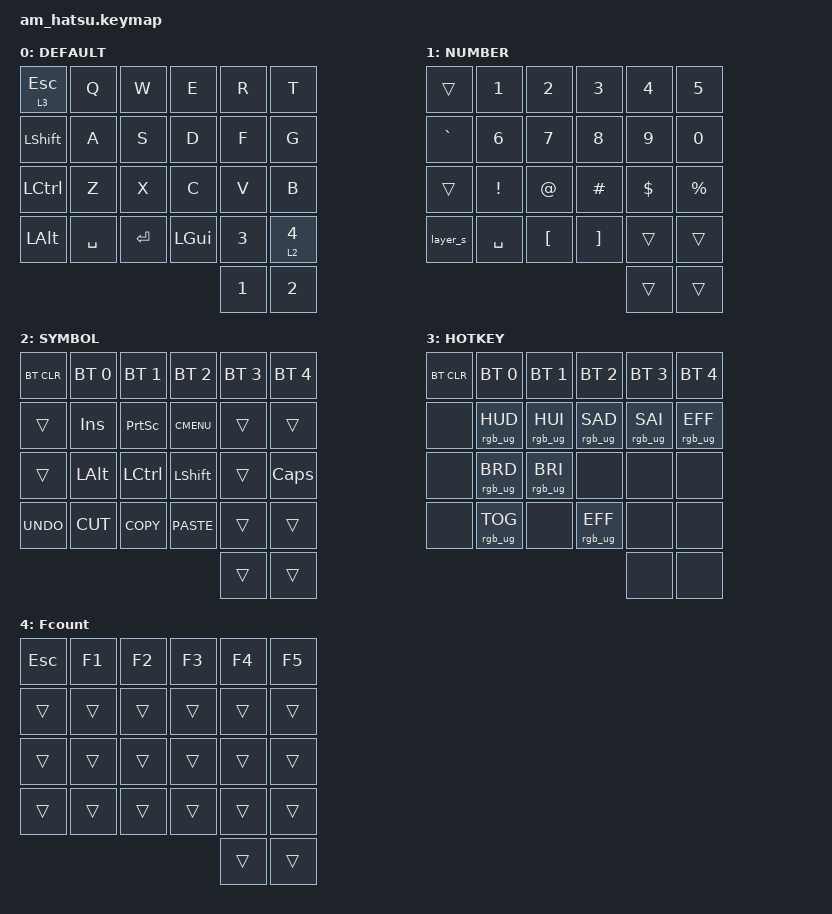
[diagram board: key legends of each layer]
/*
 * Copyright (c) 2020 The ZMK Contributors
 *
 * SPDX-License-Identifier: MIT
 */

#include <behaviors.dtsi>
#include <dt-bindings/zmk/bt.h>
#include <dt-bindings/zmk/keys.h>
#include <dt-bindings/zmk/rgb.h>

/ {
    macros {
        layer_s: layer_s {
            label = "layer shift color";
            compatible = "zmk,behavior-macro";
            #binding-cells = <0>;
            wait-ms = <0>;
            tap-ms = <0>;
            bindings =
                <&macro_press>,
                <&kp LSHFT>,
                <&macro_tap>,
                <&rgb_ug RGB_COLOR_HSB(35,100,50)>,
                <&macro_pause_for_release>,
                <&macro_release>,
                <&kp LSHFT>,
                <&macro_tap>,
                <&rgb_ug RGB_COLOR_HSB(240,50,30)>;
        };

        layer_1: layer_1 {
            label = "layer 1";
            compatible = "zmk,behavior-macro";
            #binding-cells = <0>;
            wait-ms = <0>;
            tap-ms = <0>;
            bindings =
                <&macro_press>,
                <&lt 1 END>,
                <&macro_tap>,
                <&rgb_ug RGB_COLOR_HSB(300,100,50)>,
                <&macro_pause_for_release>,
                <&macro_release>,
                <&lt 1 END>,
                <&macro_tap>,
                <&rgb_ug RGB_COLOR_HSB(240,50,30)>;
        };

        layer_2: layer_2 {
            label = "layer 2";
            compatible = "zmk,behavior-macro";
            #binding-cells = <0>;
            wait-ms = <0>;
            tap-ms = <0>;
            bindings =
                <&macro_press>,
                <&mo 2>,
                <&macro_tap>,
                <&rgb_ug RGB_COLOR_HSB(175,100,50)>,
                <&macro_pause_for_release>,
                <&macro_release>,
                <&mo 2>,
                <&macro_tap>,
                <&rgb_ug RGB_COLOR_HSB(240,50,30)>;
        };

        layer_3: layer_3 {
            label = "layer 3";
            compatible = "zmk,behavior-macro";
            #binding-cells = <0>;
            wait-ms = <0>;
            tap-ms = <0>;
            bindings =
                <&macro_press>,
                <&lt 3 DEL>,
                <&macro_tap>,
                <&rgb_ug RGB_COLOR_HSB(0,100,50)>,
                <&macro_pause_for_release>,
                <&macro_release>,
                <&lt 3 DEL>,
                <&macro_tap>,
                <&rgb_ug RGB_COLOR_HSB(240,50,30)>;
        };
    };

    behaviors {
        hm: homerow_mods {
            compatible = "zmk,behavior-hold-tap";
            label = "HOMEROW_MODS";
            #binding-cells = <2>;
            tapping-term-ms = <150>;
            quick-tap-ms = <0>;
            flavor = "tap-preferred";
            bindings = <&kp>, <&kp>;
        };

        aa: aa {
            compatible = "zmk,behavior-tap-dance";
            label = "select all";
            #binding-cells = <0>;
            tapping-term-ms = <100>;
            bindings = <&kp A>, <&kp LG(A)>;
        };

        cc: cc {
            compatible = "zmk,behavior-tap-dance";
            label = "copy";
            #binding-cells = <0>;
            tapping-term-ms = <100>;
            bindings = <&kp C>, <&kp LG(C)>;
        };

        cv: cv {
            compatible = "zmk,behavior-tap-dance";
            label = "paste";
            #binding-cells = <0>;
            tapping-term-ms = <100>;
            bindings = <&kp V>, <&kp LG(V)>;
        };

        cx: cx {
            compatible = "zmk,behavior-tap-dance";
            label = "cut";
            #binding-cells = <0>;
            tapping-term-ms = <100>;
            bindings = <&kp X>, <&kp LG(X)>;
        };
    };

    #define DEFAULT 0
#define NUMBER  1
#define SYMBOL  2
#define HOTKEY  3

    combos { compatible = "zmk,combos"; };

    keymap {
        compatible = "zmk,keymap";

        default_layer {
            label = "DEFAULT";

            // -----------------------------------------------------------------------------------------------------------------------------------
            // |  ESC  |  Q  |  W  |  E   |  R   |  T   |                                   |  Y   |  U    |  I    |  O   |   P   |   \   |
            // |  TAB  |  A  |  S  |  D   |  F   |  G   |                                   |  H   |  J    |  K    |  L   |   ;   |   '   |
            // | CTRL  |  Z  |  X  |  C   |  V   |  B   |        				|  N   |  M    |  ,    |  .   |   /   | SHIFT |
            // |             | GUI |  ~   |SHIFT | SPACE|                 			| ENTER| BSPC  |   -   |  =   | 
            // |             |            | CTRL |  DEL |            			| HOME |  CTRL | 
            // |             |            |  ALT | LEFT |					|  END |  ALT |

            bindings = <
&lt 3 ESC       &kp Q      &kp W      &kp E         &kp R   &kp T
&kp LEFT_SHIFT  &kp A      &kp S      &kp D         &kp F   &kp G
&kp LCTRL       &kp Z      &kp X      &kp C         &kp V   &kp B
&kp LEFT_ALT    &kp SPACE  &kp ENTER  &kp LEFT_GUI  &kp N3  &lt 2 N4
                                                    &kp N1  &kp N2
            >;
        };

        number_layer {
            label = "NUMBER";

            // ------------------------------------------------------------------------------------------------------------
            // |       |  F1 |  F2 |  F3  |  F4  |  F5  |                   |  F6  |  F7   |  F8   |  F9  |  F10  |  F11  |
            // | `     |   1 |   2 |   3  |   4  |   5  |                   |   6  |   7   |   8   |   9  |    0  |  F12  |
            // |       |  !  |  @  |  #   |  $   |  %   |                   |  ^   |  &    |  *    |  (   |   )   |   |   |
            //               |     |      |   [  |  ]   |                   |  {   |   }   |       |      |
            //               |     |      |      |      |                   |      |       |       |      |
            //               |     |      |      |      |                   |      |       |       |      |

            bindings = <
&trans     &kp NUMBER_1  &kp NUMBER_2      &kp NUMBER_3       &kp NUMBER_4  &kp N5
&kp GRAVE  &kp NUMBER_6  &kp N7            &kp N8             &kp N9        &kp N0
&trans     &kp EXCL      &kp AT            &kp HASH           &kp DLLR      &kp PRCNT
&layer_s   &kp SPACE     &kp LEFT_BRACKET  &kp RIGHT_BRACKET  &trans        &trans
                                                              &trans        &trans
            >;
        };

        symbol_layer {
            label = "SYMBOL";

            // ------------------------------------------------------------------------------------------------------------
            // |BTCLR| BT1  | BT2  |  BT3  |  BT4  |  BT5 |                |      |      |       |      |       | BTCLR |
            // |     | INS  | PSCR | GUI   |       |      |                | PGUP |      |   ^   |      |       |       |
            // |     | ALT  | CTRL | SHIFT |       | CAPS |                | PGDN |   <- |   v   |  ->  |  DEL  | BKSPC |
            // |            | UNDO | CUT   | COPY  |PASTE |                |      |      |       |      |
            //                             |      |       |                |      |      |    
            //                             |      |       |                |      |      |      

            bindings = <
&bt BT_CLR  &bt BT_SEL 0  &bt BT_SEL 1  &bt BT_SEL 2  &bt BT_SEL 3  &bt BT_SEL 4
&trans      &kp INS       &kp PSCRN     &kp K_CMENU   &trans        &trans
&trans      &kp LALT      &kp LCTRL     &kp LSHFT     &trans        &kp CLCK
&kp K_UNDO  &kp K_CUT     &kp K_COPY    &kp K_PASTE   &trans        &trans
                                                      &trans        &trans
            >;
        };

        hotkey_layer {
            label = "HOTKEY";

            // ------------------------------------------------------------------------------------------------------------
            // |BTCLR | BT1   | BT2   |  BT3  |  BT4  |  BT5  |                |      |  7   |   8   |   9  |       | BTCLR |
            // |      |RGB减色 |RGB增色|RGB减饱|RGB增饱 |RGB特效|                |      |  4   |   5   |   6  |       |       |
            // |      |RGB减亮 |RGB增亮|       |       |       |                |      |  1   |   2   |   3  |       |       |
            // |               | 	  |       |       |RGB开关|                 |      |      |   0   |   .  |
            //                                |       |       |                |      |      |    
            //                                |       |       |                |      |      |   

            bindings = <
&bt BT_CLR  &bt BT_SEL 0     &bt BT_SEL 1     &bt BT_SEL 2     &bt BT_SEL 3     &bt BT_SEL 4
&none       &rgb_ug RGB_HUD  &rgb_ug RGB_HUI  &rgb_ug RGB_SAD  &rgb_ug RGB_SAI  &rgb_ug RGB_EFF
&none       &rgb_ug RGB_BRD  &rgb_ug RGB_BRI  &none            &none            &none
&none       &rgb_ug RGB_TOG  &none            &rgb_ug RGB_EFF  &none            &none
                                                               &none            &none
            >;
        };

        Fcount {
            bindings = <
&kp ESCAPE  &kp F1  &kp F2  &kp F3  &kp F4  &kp F5
&trans      &trans  &trans  &trans  &trans  &trans
&trans      &trans  &trans  &trans  &trans  &trans
&trans      &trans  &trans  &trans  &trans  &trans
                                    &trans  &trans
            >;
        };
    };
};
